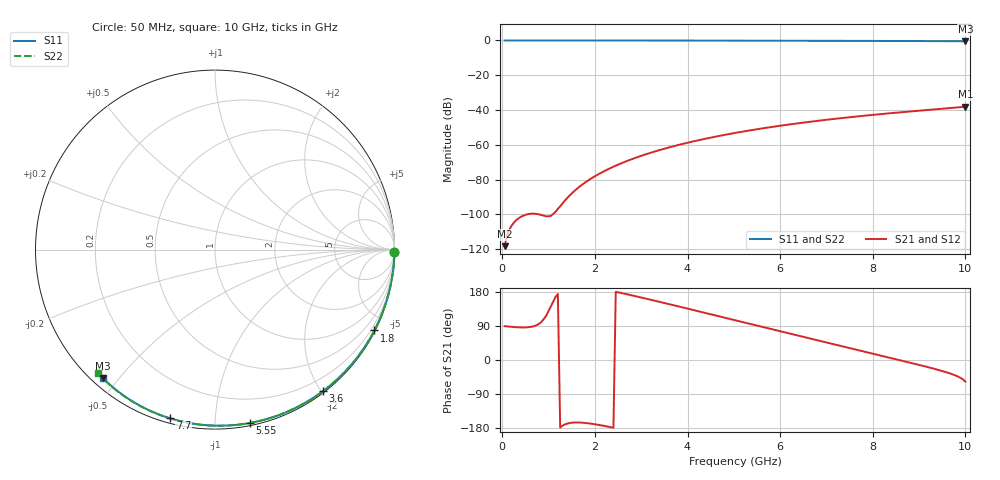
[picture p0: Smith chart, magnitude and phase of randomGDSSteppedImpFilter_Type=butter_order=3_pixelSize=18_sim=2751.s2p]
! freq	dB(S11)	phase(S11)	dB(S12)	phase(S12)
!  dB(S21)	phase(S21)	dB(S22)	phase(S22)
!S-par simulation data
#  GHz  S  DB  R 50
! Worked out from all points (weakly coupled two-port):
!   200 points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, 50 MHz to 10 GHz, reference 50 ohm
!   highest |S21| = -38.10 dB at 10 GHz (marker M1); lowest = -118.3 dB at 50 MHz (marker M2)
!   lowest |S11| = -0.4 dB at 10 GHz (marker M3), VSWR 38.80, Z = 1.55 - j22.7 ohm
!   |S11| at or under -10 dB: nowhere
!   |S22| runs from -0.5 to 0.0 dB; largest |S21 - S12| = 0
!   S11 on the Smith chart (normalised r, x): 50 MHz: open; 1.8 GHz: 0.04, -4.18; 3.6 GHz: 0.02, -2.02; 5.55 GHz: 0.02, -1.22; 7.7 GHz: 0.02, -0.77; 10 GHz: 0.03, -0.45
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0.05  -0.00 -0.8  -118.28 89.3  -118.28 89.3  -0.00 -0.8
0.9  -0.02 -13.6  -100.83 108.7  -100.83 108.7  -0.02 -13.7
1.75  -0.03 -26.2  -82.41 -165.7  -82.41 -165.7  -0.03 -26.3
1.8  -0.03 -26.9  -81.46 -166.3  -81.46 -166.3  -0.03 -27.1
1.85  -0.04 -27.6  -80.56 -167.0  -80.56 -167.0  -0.04 -27.8
1.9  -0.04 -28.3  -79.70 -167.8  -79.70 -167.8  -0.04 -28.6
2.05  -0.04 -30.5  -77.30 -170.6  -77.30 -170.6  -0.04 -30.8
2.25  -0.04 -33.4  -74.48 -175.1  -74.48 -175.1  -0.04 -33.7
2.65  -0.05 -39.2  -69.76 174.6  -69.76 174.6  -0.05 -39.5
3  -0.06 -44.2  -66.34 164.9  -66.34 164.9  -0.06 -44.5
3.4  -0.07 -49.8  -62.99 153.3  -62.99 153.3  -0.07 -50.2
3.6  -0.07 -52.6  -61.50 147.5  -61.50 147.5  -0.07 -53.0
4.3  -0.09 -62.1  -56.99 126.7  -56.99 126.7  -0.09 -62.6
5.05  -0.11 -72.1  -53.06 104.3  -53.06 104.3  -0.11 -72.6
5.55  -0.13 -78.5  -50.83 89.3  -50.83 89.3  -0.13 -79.1
6.1  -0.15 -85.5  -48.66 72.9  -48.66 72.9  -0.15 -86.1
6.7  -0.18 -92.9  -46.56 55.1  -46.56 55.1  -0.18 -93.6
7.7  -0.24 -104.9  -43.58 25.7  -43.58 25.7  -0.24 -105.7
8.35  -0.29 -112.5  -41.91 6.6  -41.91 6.6  -0.29 -113.4
9.3  -0.37 -123.3  -39.73 -22.3  -39.73 -22.3  -0.37 -124.6
9.75  -0.42 -128.4  -38.70 -39.0  -38.70 -39.0  -0.42 -130.0
10  -0.45 -131.2  -38.10 -56.8  -38.10 -56.8  -0.48 -133.5
